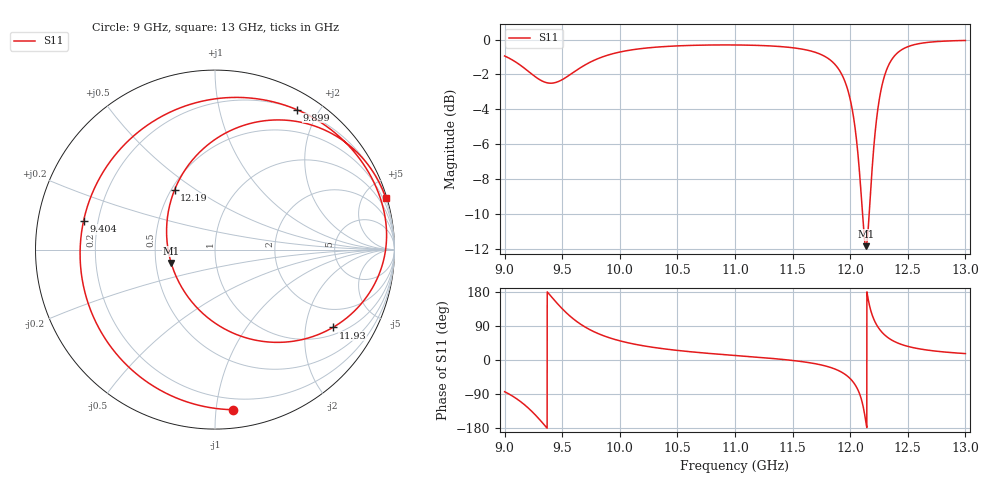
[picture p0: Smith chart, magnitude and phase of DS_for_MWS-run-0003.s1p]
! TOUCHSTONE file generated by CST DESIGN STUDIO
! Date and time: Tue Feb  4 17:49:33 2025
! Project name: C:\Work\MatlabApps\UnitCellOptimizationMatlab\CST\unitcell.cst
! Tree item: Tasks\Sweep1\SPara1\S-Parameters
! Header version: 2024
! Port assignment regex: !\s*Touchstone port\s*([0-9]+)\s*=\s*(CST MWS port|CST DES external port|CST DES block port)\s*(.+)\s* \(\"(.*)\"\)(\s*mode\s*([0-9]+))?.*
! Touchstone port assignment:
! Touchstone port 1 = CST DES external port 1 ("")
# GHz S MA R 50
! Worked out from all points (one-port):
!   4001 points, 9 GHz to 13 GHz, reference 50 ohm
!   lowest |S11| = -11.9 dB at 12.14 GHz (marker M1), VSWR 1.69, Z = 30.1 - j4.75 ohm
!   |S11| at or under -10 dB: 12.10658 GHz to 12.16495 GHz (58.37 MHz wide, 0.481 % of centre)
!   S11 on the Smith chart (normalised r, x): 9 GHz: 0.12, -1.11; 9.404 GHz: 0.14, +0.11; 9.899 GHz: 0.20, +1.72; 11.93 GHz: 1.24, -2.84; 12.19 GHz: 0.52, +0.41; 13 GHz: 0.13, +6.71
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9  0.8975 -83.6
9.107  0.8577 -102.9
9.198  0.8148 -124.7
9.31  0.7653 -159.3
9.404  0.7496 167.6
9.5  0.7674 135.3
9.578  0.7972 113.2
9.662  0.8318 94.0
9.778  0.8725 74.3
9.899  0.9031 59.7
10  0.921 50.6
10.216  0.9447 36.9
10.5  0.9593 25.3
11  0.9651 11.9
11.5  0.9477 -1.2
11.776  0.8963 -15.0
11.933  0.7871 -33.4
12  0.6739 -49.2
12.073  0.4471 -82.8
12.103  0.3291 -110.3
12.136  0.2553 -163.2
12.185  0.4017 124.1
12.233  0.6069 90.9
12.286  0.762 70.0
12.379  0.8933 49.5
12.5  0.9542 36.0
12.689  0.983 25.4
13  0.9943 16.9
